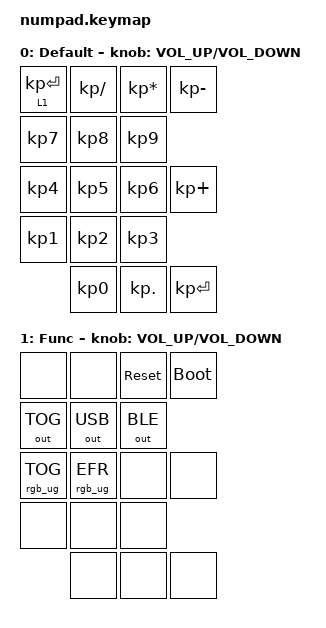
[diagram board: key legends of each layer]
#include <behaviors.dtsi>
#include <dt-bindings/zmk/keys.h>
#include <dt-bindings/zmk/bt.h>
#include <dt-bindings/zmk/outputs.h>
#include <dt-bindings/zmk/rgb.h>

&encoder_1 {
    status = "okay";
};

&sensors {
    sensors = <&encoder_1>;
};

/ {
    keymap {
        compatible = "zmk,keymap";

        default_layer {
            label = "Default";
            bindings = <
                &lt 1 KP_ENTER  &kp KP_SLASH    &kp KP_ASTERISK &kp KP_MINUS
                &kp KP_NUMBER_7 &kp KP_NUMBER_8 &kp KP_NUMBER_9
                &kp KP_NUMBER_4 &kp KP_NUMBER_5 &kp KP_NUMBER_6 &kp KP_PLUS
                &kp KP_NUMBER_1 &kp KP_NUMBER_2 &kp KP_NUMBER_3
                                &kp KP_NUMBER_0 &kp KP_DOT      &kp KP_ENTER
            >;
            sensor-bindings = <&inc_dec_kp C_VOLUME_UP C_VOLUME_DOWN>;
        };

        func_layer {
            label = "Func";
            bindings = <
                &none           &none           &sys_reset      &bootloader
                &out OUT_TOG    &out OUT_USB    &out OUT_BLE
                &rgb_ug RGB_TOG &rgb_ug RGB_EFR &none           &none
                &none           &none           &none
                                &none           &none           &none
            >;
            sensor-bindings = <&inc_dec_kp C_VOLUME_UP C_VOLUME_DOWN>;
        };
    };
};
